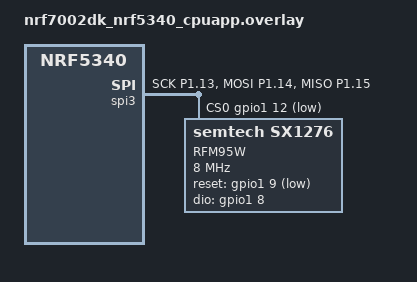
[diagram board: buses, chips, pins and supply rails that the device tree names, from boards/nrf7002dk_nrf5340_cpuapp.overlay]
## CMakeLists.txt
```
cmake_minimum_required(VERSION 3.20.0)

# Point CMake at Zephyr
find_package(Zephyr REQUIRED HINTS $ENV{ZEPHYR_BASE})
project(my_app)

# Your source files
target_sources(app PRIVATE
  src/main.c
  src/packet.c
  src/crypto_min.c
  src/siphash.c
)
```

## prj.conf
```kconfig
# --- Console / logging ---
CONFIG_SERIAL=y
CONFIG_CONSOLE=y
CONFIG_UART_CONSOLE=y
CONFIG_PRINTK=y
CONFIG_LOG=y

# --- GPIO for LED ---
CONFIG_GPIO=y

# --- LoRa / radio support ---
CONFIG_LORA=y
CONFIG_LORA_LOG_LEVEL_INF=y
CONFIG_LOG_MODE_IMMEDIATE=y


# RX needs a bigger stack too
CONFIG_MAIN_STACK_SIZE=4096
```

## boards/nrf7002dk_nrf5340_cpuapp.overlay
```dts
/ {
    aliases {
        lora0 = &rfm95;
    };
};

/* ===== SPI3 for RFM95 LoRa ===== */
&spi3 {
    compatible = "nordic,nrf-spim";
    status = "okay";
    pinctrl-0 = <&spi3_default>;
    pinctrl-1 = <&spi3_sleep>;
    pinctrl-names = "default", "sleep";
    cs-gpios = <&gpio1 12 GPIO_ACTIVE_LOW>;

    rfm95: sx1276@0 {
        compatible = "semtech,sx1276";
        reg = <0>;
        label = "RFM95W";
        spi-max-frequency = <8000000>;

        reset-gpios = <&gpio1 9 GPIO_ACTIVE_LOW>;
        dio-gpios   = <&gpio1 8 GPIO_ACTIVE_HIGH>;
        power-amplifier-output = "pa-boost";
    };
};

&pinctrl {
    spi3_default: spi3_default {
        group1 {
            psels = <NRF_PSEL(SPIM_SCK,  1, 13)>,
                    <NRF_PSEL(SPIM_MOSI, 1, 14)>,
                    <NRF_PSEL(SPIM_MISO, 1, 15)>;
        };
    };

    spi3_sleep: spi3_sleep {
        group1 {
            psels = <NRF_PSEL(SPIM_SCK,  1, 13)>,
                    <NRF_PSEL(SPIM_MOSI, 1, 14)>,
                    <NRF_PSEL(SPIM_MISO, 1, 15)>;
            low-power-enable;
        };
    };
};
```

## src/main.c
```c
#include <math.h>
#include <stdint.h>
#include <string.h>
#include <zephyr/device.h>
#include <zephyr/drivers/lora.h>
#include <zephyr/kernel.h>
#include <zephyr/logging/log.h>

#include "packet.h"

LOG_MODULE_REGISTER(misogate, LOG_LEVEL_INF);

/* --- Multi-node + relative position config --- */
#define MAX_NODES 4               /* we use node IDs 1 and 2 for now */
#define BASELINE_SAMPLES 20       /* packets per node to learn baseline */
#define POSITION_MIN_ANOM 2000.0f /* ignore if both anomalies tiny */

/* Per-node state at the gateway */
struct node_state {
  bool have_baseline;
  uint32_t baseline_count;
  int64_t baseline_sum_absB; /* sum of |B| during baseline learning */
  int32_t baseline_absB;     /* learned baseline |B| in m-uT */

  int32_t last_absB;  /* last |B| in m-uT */
  int32_t last_dAbsB; /* last anomaly |B|-baseline in m-uT */
  uint32_t last_seq;
};

static struct node_state g_nodes[MAX_NODES + 1];

/* Compute |B| from components in m-uT using float math */
static int32_t compute_absB_m_uT(int32_t x, int32_t y, int32_t z) {
  float fx = (float)x;
  float fy = (float)y;
  float fz = (float)z;
  float mag = sqrtf(fx * fx + fy * fy + fz * fz);
  if (mag > 2147483647.0f) {
    mag = 2147483647.0f;
  }
  return (int32_t)mag;
}

/* Update per-node baseline and anomaly for this frame */
static void update_node_state(const struct sensor_frame *f, int32_t absB) {
  uint8_t nid = f->node_id;
  if (nid == 0 || nid > MAX_NODES) {
    LOG_WRN("Ignoring frame from node_id=%u (out of range)", nid);
    return;
  }

  struct node_state *ns = &g_nodes[nid];

  /* Learn baseline first N samples per node */
  if (!ns->have_baseline) {
    ns->baseline_sum_absB += absB;
    ns->baseline_count++;

    if (ns->baseline_count >= BASELINE_SAMPLES) {
      ns->baseline_absB =
          (int32_t)(ns->baseline_sum_absB / (int32_t)ns->baseline_count);
      ns->have_baseline = true;
      LOG_INF("Node %u baseline learned: |B| ≈ %d m-uT", nid,
              ns->baseline_absB);
    }
  }

  ns->last_absB = absB;
  ns->last_seq = f->tx_seq;

  if (ns->have_baseline) {
    ns->last_dAbsB = absB - ns->baseline_absB;
  } else {
    ns->last_dAbsB = 0;
  }
}

/*
 * Estimate relative TBM position using node 1 and 2.
 * Returns:
 *   -1 if no valid estimate yet
 *    0..100 otherwise (0=node1, 100=node2).
 */
static int estimate_position_rel_0_100(void) {
  struct node_state *n1 = &g_nodes[1];
  struct node_state *n2 = &g_nodes[2];

  if (!n1->have_baseline || !n2->have_baseline) {
    return -1; /* learning baselines */
  }

  float d0 = fabsf((float)n1->last_dAbsB);
  float d1 = fabsf((float)n2->last_dAbsB);
  float sum = d0 + d1;

  if (sum < POSITION_MIN_ANOM) {
    /* Magnet too far / weak to give meaningful position */
    return -1;
  }

  /* Barycentric between node1 and node2:
   * ratio = d1 / (d0 + d1)
   *  => 0 means all at node1, 1 means all at node2
   */
  float ratio = d1 / sum;
  if (ratio < 0.0f)
    ratio = 0.0f;
  if (ratio > 1.0f)
    ratio = 1.0f;

  int pos_rel =
      (int)(ratio * 100.0f + 0.5f); /* round to nearest int in [0,100] */
  if (pos_rel < 0)
    pos_rel = 0;
  if (pos_rel > 100)
    pos_rel = 100;
  return pos_rel;
}

void main(void) {
  const struct device *lora = DEVICE_DT_GET(DT_ALIAS(lora0));
  if (!device_is_ready(lora)) {
    LOG_ERR("LoRa device not ready");
    return;
  }

  struct lora_modem_config cfg = {
      .frequency = 915000000UL,
      .bandwidth = BW_125_KHZ,
      .datarate = SF_7,
      .coding_rate = CR_4_5,
      .preamble_len = 8,
      .tx_power = 10,
      .tx = false, /* RX mode */
      .iq_inverted = false,
      .public_network = true,
  };
  if (lora_config(lora, &cfg) < 0) {
    LOG_ERR("lora_config failed");
    return;
  }

  LOG_INF(
      "misogate: RX (Encrypt-then-MAC, multi-node, relative position 0..100)");

  memset(g_nodes, 0, sizeof(g_nodes));

  uint32_t rx_ok = 0;

  while (1) {
    uint8_t buf[64];
    int16_t rssi = 0, snr = 0;
    int len = lora_recv(lora, buf, sizeof(buf), K_SECONDS(10), &rssi, &snr);

    if (len > 0) {
      struct sensor_frame f;
      if (packet_parse_secure_frame_encmac(buf, len, &f) == 0) {
        rx_ok++;

        /* Compute |B| and update per-node state */
        int32_t absB =
            compute_absB_m_uT(f.x_uT_milli, f.y_uT_milli, f.z_uT_milli);

        update_node_state(&f, absB);

        /* pretty temperature */
        int16_t t_abs = abs(f.temp_c_times10 % 10);

        struct node_state *ns =
            (f.node_id <= MAX_NODES) ? &g_nodes[f.node_id] : NULL;

        int32_t dAbs = (ns && ns->have_baseline) ? ns->last_dAbsB : 0;

        LOG_INF("SECURE PKT rx_ok=%u node=%u tx_seq=%u "
                "X=%d m-uT Y=%d m-uT Z=%d m-uT |B|=%d m-uT d|B|=%d m-uT "
                "T=%d.%d C RSSI=%d dBm SNR=%d dB len=%d",
                (unsigned)rx_ok, (unsigned)f.node_id, (unsigned)f.tx_seq,
                f.x_uT_milli, f.y_uT_milli, f.z_uT_milli, absB, dAbs,
                f.temp_c_times10 / 10, t_abs, rssi, snr, len);

        /* Try to compute a relative position 0..100 using nodes 1 and 2 */
        int pos_rel = estimate_position_rel_0_100();
        if (pos_rel >= 0) {
          /* This is the line your teammate can parse to drive the slider */
          struct node_state *n1 = &g_nodes[1];
          struct node_state *n2 = &g_nodes[2];

          float d0 = fabsf((float)n1->last_dAbsB);
          float d1 = fabsf((float)n2->last_dAbsB);

          LOG_INF("POS_REL node1-2: %d (0=node1,100=node2) "
                  "d0=%.0f m-uT d1=%.0f m-uT",
                  pos_rel, (double)d0, (double)d1);
        } else {
          LOG_INF("POS_REL node1-2: N/A (baselines not ready or anomalies too "
                  "small)");
        }

      } else {
        LOG_WRN("SECURITY DROP len=%d RSSI=%d SNR=%d", len, rssi, snr);
      }
    } else {
      LOG_INF("misogate: waiting...");
    }
  }
}
```

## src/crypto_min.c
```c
#include "crypto_min.h"
#include "siphash.h"
#include <string.h>

static void sip_to_16(uint8_t out16[16], const uint8_t key[16],
                      const uint8_t *label, size_t lab_len) {
  uint8_t tag[8];
  siphash24(tag, label, lab_len, key);
  memcpy(out16, tag, 8);

  uint8_t lab2[32];
  size_t n = 0;
  for (; n < lab_len && n < sizeof(lab2) - 1; ++n)
    lab2[n] = label[n];
  lab2[n++] = 0xA5; // domain separator
  siphash24(tag, lab2, n, key);
  memcpy(out16 + 8, tag, 8);
}

void kdf_split_keys(const uint8_t k_master[16], uint8_t node_id,
                    uint8_t K_enc_out[16], uint8_t K_mac_out[16]) {
  uint8_t labelE[6] = {'E', 'N', 'C', node_id, 0x00, 0x01};
  uint8_t labelM[6] = {'M', 'A', 'C', node_id, 0x00, 0x01};
  sip_to_16(K_enc_out, k_master, labelE, sizeof(labelE));
  sip_to_16(K_mac_out, k_master, labelM, sizeof(labelM));
}

void keystream_from_seq(uint8_t *out, size_t n, const uint8_t K_enc[16],
                        uint32_t tx_seq) {
  /* Generate 8B blocks: SipHash(K_enc, 'S' || tx_seq || block#) */
  uint8_t in[1 + 4 + 4];
  in[0] = 'S';
  in[1] = (uint8_t)(tx_seq >> 0);
  in[2] = (uint8_t)(tx_seq >> 8);
  in[3] = (uint8_t)(tx_seq >> 16);
  in[4] = (uint8_t)(tx_seq >> 24);

  uint8_t tag[8];
  uint32_t block = 0;
  size_t produced = 0;
  while (produced < n) {
    in[5] = (uint8_t)(block >> 0);
    in[6] = (uint8_t)(block >> 8);
    in[7] = (uint8_t)(block >> 16);
    in[8] = (uint8_t)(block >> 24);
    siphash24(tag, in, sizeof(in), K_enc);
    size_t take = (n - produced < 8) ? (n - produced) : 8;
    for (size_t i = 0; i < take; ++i)
      out[produced + i] = tag[i];
    produced += take;
    block++;
  }
}
```

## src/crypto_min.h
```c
#pragma once
#include <stddef.h>
#include <stdint.h>

/* Derive ENC and MAC subkeys from a 16-byte per-node master key */
void kdf_split_keys(const uint8_t k_master[16], uint8_t node_id,
                    uint8_t K_enc_out[16], uint8_t K_mac_out[16]);

/* Build keystream from K_enc and tx_seq (nonce) */
void keystream_from_seq(uint8_t *out, size_t n, const uint8_t K_enc[16],
                        uint32_t tx_seq);
```

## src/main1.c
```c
#include <math.h>
#include <string.h>
#include <zephyr/device.h>
#include <zephyr/drivers/spi.h>
#include <zephyr/kernel.h>
#include <zephyr/logging/log.h>

LOG_MODULE_REGISTER(main, LOG_LEVEL_INF);

/* ================= LoRa 参数 ================= */
#define LORA_FREQ_HZ 915000000UL
#define MAX_PAYLOAD 64

static int sx1276_read_reg(uint8_t reg, uint8_t *val); // ✅ 添加这行
/* ================= SPI 设置 ================= */
static struct spi_dt_spec lora_spi =
    SPI_DT_SPEC_GET(DT_NODELABEL(rfm95), SPI_WORD_SET(8) | SPI_TRANSFER_MSB, 0);

/* ================= 数据解包函数 ================= */
static void unpack_mag_data(const uint8_t *buf, uint8_t *node_id, uint32_t *seq,
                            int32_t *x, int32_t *y, int32_t *z) {
  *node_id = buf[0];

  // 序列号 (4 bytes, little-endian)
  *seq = ((uint32_t)buf[1] << 0) | ((uint32_t)buf[2] << 8) |
         ((uint32_t)buf[3] << 16) | ((uint32_t)buf[4] << 24);

  // X (4 bytes, little-endian, signed)
  *x = ((int32_t)buf[5] << 0) | ((int32_t)buf[6] << 8) |
       ((int32_t)buf[7] << 16) | ((int32_t)buf[8] << 24);

  // Y (4 bytes)
  *y = ((int32_t)buf[9] << 0) | ((int32_t)buf[10] << 8) |
       ((int32_t)buf[11] << 16) | ((int32_t)buf[12] << 24);

  // Z (4 bytes)
  *z = ((int32_t)buf[13] << 0) | ((int32_t)buf[14] << 8) |
       ((int32_t)buf[15] << 16) | ((int32_t)buf[16] << 24);
}

/* ================= SPI 基础读写 ================= */
static void sx1276_write_reg(uint8_t reg, uint8_t val) {

  if (reg == 0x01) {
    val |= 0x80; // 把 bit7=1
                 // LOG_INF("→ LoRa bit forced ON for RegOpMode write");
  }
  uint8_t tx_buf[2] = {reg | 0x80, val};
  struct spi_buf tx = {.buf = tx_buf, .len = 2};
  const struct spi_buf_set txs = {.buffers = &tx, .count = 1};
  int ret = spi_write_dt(&lora_spi, &txs);

  if (ret != 0) {
    LOG_ERR("SPI write failed! reg=0x%02X ret=%d", reg, ret);
  }

  // ✅ 验证 0x01 寄存器的写入
  if (reg == 0x01) {
    k_msleep(1);
    uint8_t readback;
    sx1276_read_reg(0x01, &readback);

    // if (readback != val) {
    //     LOG_ERR("Reg 0x01 verify FAILED! Wrote:0x%02X Read:0x%02X", val,
    //     readback);
    // } else {
    //     LOG_INF("Reg 0x01 verify OK: 0x%02X", readback);
    // }
  }
}

static int sx1276_read_reg(uint8_t reg, uint8_t *val) {
  uint8_t tx_buf[2] = {reg & 0x7F, 0x00};
  uint8_t rx_buf[2] = {0};
  struct spi_buf tx = {.buf = tx_buf, .len = 2};
  struct spi_buf rx = {.buf = rx_buf, .len = 2};
  const struct spi_buf_set tx_set = {.buffers = &tx, .count = 1};
  const struct spi_buf_set rx_set = {.buffers = &rx, .count = 1};

  int ret = spi_transceive_dt(&lora_spi, &tx_set, &rx_set);
  if (ret != 0) {
    LOG_ERR("SPI read failed reg=0x%02X ret=%d", reg, ret);
    return ret;
  }

  *val = rx_buf[1];
  return 0;
}

/* ================= LoRa 初始化 ================= */
static void sx1276_set_freq(uint32_t freq) {
  uint64_t frf = ((uint64_t)freq << 19) / 32000000;
  sx1276_write_reg(0x06, (frf >> 16) & 0xFF);
  sx1276_write_reg(0x07, (frf >> 8) & 0xFF);
  sx1276_write_reg(0x08, (frf) & 0xFF);
}

static void sx1276_reset(void) {
  const struct device *gpio_rst = DEVICE_DT_GET(DT_NODELABEL(gpio1)); // P1.x
  if (!device_is_ready(gpio_rst)) {
    LOG_ERR("gpio1 not ready!");
    return;
  }

  gpio_pin_configure(gpio_rst, 9, GPIO_OUTPUT_ACTIVE); // P1.09

  gpio_pin_set(gpio_rst, 9, 0); // 拉低复位
  k_msleep(2);                  // >= 1ms
  gpio_pin_set(gpio_rst, 9, 1); // 拉高
  k_msleep(10);                 // 给芯片时间稳定
                                // LOG_INF("SX1276 RST done");
}

static void sx1276_init_lora(void) {
  sx1276_reset();

  LOG_INF("SX1276 init...");
  sx1276_write_reg(0x01, 0x80); // Sleep + LoRa
  k_msleep(5);
  sx1276_write_reg(0x01, 0x81 | 0x80); // Standby

  sx1276_set_freq(LORA_FREQ_HZ);
  sx1276_write_reg(0x1D, 0x72); // BW125kHz, CR4/5
  sx1276_write_reg(0x1E, 0x74); // SF7 + CRC ON
  sx1276_write_reg(0x26, 0x04); // LowDataRateOptimize=OFF, AGC=ON
  sx1276_write_reg(0x09, 0x8F); // PA_BOOST + 14dBm
  sx1276_write_reg(0x12, 0xFF); // Clear IRQ

  sx1276_write_reg(0x39, 0x34); // SyncWord
  sx1276_write_reg(0x24, 0x00); // HopPeriod OFF
  sx1276_write_reg(0x0C, 0x23); // LNA Boost
  sx1276_write_reg(0x33, 0x27); // InvertIQ Normal
  sx1276_write_reg(0x3B, 0x1D); // InvertIQ2 固定值

  sx1276_write_reg(0x0E, 0x80); // ✅ TX FIFO base addr
  sx1276_write_reg(0x0F, 0x00); // ✅ RX FIFO base addr

  LOG_INF("SX1276 basic config done.");
}

static void sx1276_enter_rx(void) {
  // sx1276_write_reg(0x01, 0x80); // Sleep
  // k_msleep(2);
  sx1276_write_reg(0x01, 0x81 | 0x80); // Standby

  // TX FIFO base = 0x80（发射端区域）
  sx1276_write_reg(0x0E, 0x80);

  // RX FIFO base = 0x00（接收端区域）
  sx1276_write_reg(0x0F, 0x00);

  // FIFO 指针回到 RX 区域头
  sx1276_write_reg(0x0D, 0x00);

  // 清中断 & DIO 映射到 RxDone
  sx1276_write_reg(0x12, 0xFF);
  sx1276_write_reg(0x40, 0x00);

  // 进入连续接收
  sx1276_write_reg(0x01, 0x85 | 0x80);

  // LOG_INF("RX ON");
}

/* ================= FIFO 读取函数 ================= */
static void sx1276_read_fifo(uint8_t *buf, uint8_t len) {
  uint8_t tx_buf[1 + MAX_PAYLOAD] = {0x00};
  uint8_t rx_buf[1 + MAX_PAYLOAD] = {0};
  tx_buf[0] = 0x00; // FIFO地址

  struct spi_buf tx = {.buf = tx_buf, .len = len + 1};
  struct spi_buf rx = {.buf = rx_buf, .len = len + 1};
  const struct spi_buf_set txs = {.buffers = &tx, .count = 1};
  const struct spi_buf_set rxs = {.buffers = &rx, .count = 1};
  spi_transceive_dt(&lora_spi, &txs, &rxs);

  memcpy(buf, &rx_buf[1], len);
}

/* ================= 主程序 ================= */
void main(void) {
  LOG_INF("==== SX1276 RX Debug Mode ====");

  if (!device_is_ready(lora_spi.bus)) {
    LOG_ERR("SPI bus not ready!");
    return;
  }

  sx1276_init_lora();
  sx1276_enter_rx();

  uint8_t ver;
  if (sx1276_read_reg(0x42, &ver) == 0) {
    LOG_INF("SX1276 RegVersion = 0x%02X", ver);
  } else {
    LOG_ERR("Failed to read RegVersion");
  }

  uint8_t irq, opmode, pktlen, fifo_rx_curr, rssi, modem_stat;
  uint8_t modemstat, hopchan; // <--- 新增
  uint8_t buf[MAX_PAYLOAD];

  while (1) {
    // 1. 读取状态
    sx1276_read_reg(0x12, &irq);
    sx1276_read_reg(0x1C, &hopchan);
    sx1276_read_reg(0x01, &opmode);
    sx1276_read_reg(0x18, &modem_stat);

    if ((opmode & 0x87) != 0x85) {
      // LOG_ERR("!! Mode wrong: %02X, FULL RESET...", opmode);

      // ✅ 直接调用初始化函数
      sx1276_init_lora();
      sx1276_enter_rx();

      uint8_t verify_modem;
      sx1276_read_reg(0x18, &verify_modem);
      // LOG_WRN("Full reset done, ModemStat=0x%02X", verify_modem);

      continue;
    }

    if (irq & 0x40) // RxDone
    {
      bool CrcError = (irq & 0x20);
      if (!CrcError) {
        uint8_t fifo_rx_curr, pktlen;
        sx1276_read_reg(0x10, &fifo_rx_curr);
        sx1276_read_reg(0x13, &pktlen);

        if (pktlen > MAX_PAYLOAD)
          pktlen = MAX_PAYLOAD;

        sx1276_write_reg(0x0D, fifo_rx_curr);
        sx1276_read_fifo(buf, pktlen);

        if (pktlen == 17) { // 检查是否是正确的数据包长度
          uint8_t node_id;
          uint32_t seq;
          int32_t x, y, z;

          unpack_mag_data(buf, &node_id, &seq, &x, &y, &z);

          // 转换成 Gauss
          float x_g = x * 0.0000625f;
          float y_g = y * 0.0000625f;
          float z_g = z * 0.0000625f;
          float mag = sqrtf(x_g * x_g + y_g * y_g + z_g * z_g);

          LOG_INF("Node:%u Seq:%lu X:%.3f Y:%.3f Z:%.3f |M|:%.3f G", node_id,
                  (unsigned long)seq, (double)x_g, (double)y_g, (double)z_g,
                  (double)mag);
        } else {
          LOG_WRN("Invalid packet length: %u (expected 17)", pktlen);
        }
      }

      //         buf[pktlen] = 0;
      //         LOG_INF("RECV: %s", buf);
      //       }  else {
      //         LOG_WRN("CRC error, dropped");
      //       }

      sx1276_write_reg(0x12, 0x40);

      // 重置FIFO
      sx1276_write_reg(0x0D, 0x00);

      // LOG_INF("Packet handled, back to RX mode");

      //    }

      k_msleep(50);
    }
  }
}

////////
```

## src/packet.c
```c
#include "packet.h"
#include "crypto_min.h"
#include "siphash.h"
#include <stdlib.h>
#include <string.h>

/* Same per-node master key as node */
static const uint8_t NODE_MASTER_KEY[16] = {0x4d, 0x69, 0x73, 0x6f, 0x4b, 0x65,
                                            0x79, 0x21, 0x10, 0x22, 0x33, 0x44,
                                            0x55, 0x66, 0x77, 0x88};

static uint32_t last_seq_seen[256];

int packet_parse_secure_frame_encmac(const uint8_t *in, size_t in_len,
                                     struct sensor_frame *out) {
  if (in_len < SECURE_FRAME_LEN)
    return -1;

  uint8_t node_id = in[0];
  uint32_t tx_seq = (uint32_t)in[1] | ((uint32_t)in[2] << 8) |
                    ((uint32_t)in[3] << 16) | ((uint32_t)in[4] << 24);

  const uint8_t *ct = &in[5];
  const uint8_t *tag = &in[5 + SENSOR_PLAINTEXT_LEN];

  uint8_t K_enc[16], K_mac[16];
  kdf_split_keys(NODE_MASTER_KEY, node_id, K_enc, K_mac);

  // MAC check first (Encrypt-then-MAC)
  uint8_t mac_input[1 + 4 + SENSOR_PLAINTEXT_LEN];
  mac_input[0] = node_id;
  mac_input[1] = in[1];
  mac_input[2] = in[2];
  mac_input[3] = in[3];
  mac_input[4] = in[4];
  memcpy(&mac_input[5], ct, SENSOR_PLAINTEXT_LEN);

  uint8_t calc[TAG_LEN];
  siphash24(calc, mac_input, sizeof(mac_input), K_mac);
  if (memcmp(calc, tag, TAG_LEN) != 0)
    return -1;

  // Replay protection per node
  if (tx_seq <= last_seq_seen[node_id])
    return -1;
  last_seq_seen[node_id] = tx_seq;

  // Decrypt

  uint8_t ks[SENSOR_PLAINTEXT_LEN], pt[SENSOR_PLAINTEXT_LEN];
  keystream_from_seq(ks, sizeof(ks), K_enc, tx_seq);
  for (size_t i = 0; i < SENSOR_PLAINTEXT_LEN; ++i)
    pt[i] = ct[i] ^ ks[i];

  out->node_id = node_id;
  out->tx_seq = tx_seq;
  return unpack_sensor_payload(pt, out);
}
```

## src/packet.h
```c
#pragma once
#include <stddef.h>
#include <stdint.h>

/* Frame & payload layout (unchanged size: 28 bytes) */
#define MSG_TYPE_SENSOR 0x01
#define SENSOR_PLAINTEXT_LEN 15
#define TAG_LEN 8
#define SECURE_FRAME_LEN (1 + 4 + SENSOR_PLAINTEXT_LEN + TAG_LEN)

/* Sensor struct used at the app edges */
struct sensor_frame {
  uint8_t node_id;
  uint32_t tx_seq;
  int32_t x_uT_milli;
  int32_t y_uT_milli;
  int32_t z_uT_milli;
  int16_t temp_c_times10;
};

/* --- helpers to pack/unpack 15B sensor payload --- */
static inline void pack_sensor_payload(uint8_t *buf,
                                       const struct sensor_frame *m) {
  buf[0] = MSG_TYPE_SENSOR;

  uint32_t ux = (uint32_t)m->x_uT_milli;
  uint32_t uy = (uint32_t)m->y_uT_milli;
  uint32_t uz = (uint32_t)m->z_uT_milli;

  buf[1] = (uint8_t)(ux >> 0);
  buf[2] = (uint8_t)(ux >> 8);
  buf[3] = (uint8_t)(ux >> 16);
  buf[4] = (uint8_t)(ux >> 24);

  buf[5] = (uint8_t)(uy >> 0);
  buf[6] = (uint8_t)(uy >> 8);
  buf[7] = (uint8_t)(uy >> 16);
  buf[8] = (uint8_t)(uy >> 24);

  buf[9] = (uint8_t)(uz >> 0);
  buf[10] = (uint8_t)(uz >> 8);
  buf[11] = (uint8_t)(uz >> 16);
  buf[12] = (uint8_t)(uz >> 24);

  uint16_t t = (uint16_t)m->temp_c_times10;
  buf[13] = (uint8_t)(t >> 0);
  buf[14] = (uint8_t)(t >> 8);
}

static inline int unpack_sensor_payload(const uint8_t *p,
                                        struct sensor_frame *out) {
  if (p[0] != MSG_TYPE_SENSOR)
    return -1;

  uint32_t ux = (uint32_t)p[1] | ((uint32_t)p[2] << 8) |
                ((uint32_t)p[3] << 16) | ((uint32_t)p[4] << 24);
  uint32_t uy = (uint32_t)p[5] | ((uint32_t)p[6] << 8) |
                ((uint32_t)p[7] << 16) | ((uint32_t)p[8] << 24);
  uint32_t uz = (uint32_t)p[9] | ((uint32_t)p[10] << 8) |
                ((uint32_t)p[11] << 16) | ((uint32_t)p[12] << 24);

  out->x_uT_milli = (int32_t)ux;
  out->y_uT_milli = (int32_t)uy;
  out->z_uT_milli = (int32_t)uz;

  out->temp_c_times10 = (int16_t)((uint16_t)p[13] | ((uint16_t)p[14] << 8));
  return 0;
}
```

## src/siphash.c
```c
#include "siphash.h"

static inline uint64_t U8TO64_LE(const uint8_t *p) {
  return ((uint64_t)p[0]) | ((uint64_t)p[1] << 8) | ((uint64_t)p[2] << 16) |
         ((uint64_t)p[3] << 24) | ((uint64_t)p[4] << 32) |
         ((uint64_t)p[5] << 40) | ((uint64_t)p[6] << 48) |
         ((uint64_t)p[7] << 56);
}
static inline uint64_t ROTL64(uint64_t x, int b) {
  return (x << b) | (x >> (64 - b));
}
static inline void sipround(uint64_t *v0, uint64_t *v1, uint64_t *v2,
                            uint64_t *v3) {
  *v0 += *v1;
  *v1 = ROTL64(*v1, 13) ^ *v0;
  *v0 = ROTL64(*v0, 32);
  *v2 += *v3;
  *v3 = ROTL64(*v3, 16) ^ *v2;
  *v0 += *v3;
  *v3 = ROTL64(*v3, 21) ^ *v0;
  *v2 += *v1;
  *v1 = ROTL64(*v1, 17) ^ *v2;
  *v2 = ROTL64(*v2, 32);
}

void siphash24(uint8_t out[8], const uint8_t *m, size_t len,
               const uint8_t key[16]) {
  uint64_t k0 = U8TO64_LE(key + 0);
  uint64_t k1 = U8TO64_LE(key + 8);
  uint64_t v0 = 0x736f6d6570736575ULL ^ k0;
  uint64_t v1 = 0x646f72616e646f6dULL ^ k1;
  uint64_t v2 = 0x6c7967656e657261ULL ^ k0;
  uint64_t v3 = 0x7465646279746573ULL ^ k1;

  const uint8_t *end = m + (len & ~((size_t)7));
  int left = (int)(len & 7);

  for (const uint8_t *p = m; p != end; p += 8) {
    uint64_t mi = U8TO64_LE(p);
    v3 ^= mi;
    sipround(&v0, &v1, &v2, &v3);
    sipround(&v0, &v1, &v2, &v3);
    v0 ^= mi;
  }

  uint64_t b = ((uint64_t)len) << 56;
  switch (left) { /* fallthroughs intentional */
  case 7:
    b |= ((uint64_t)m[len - 7]) << 48;
  case 6:
    b |= ((uint64_t)m[len - 6]) << 40;
  case 5:
    b |= ((uint64_t)m[len - 5]) << 32;
  case 4:
    b |= ((uint64_t)m[len - 4]) << 24;
  case 3:
    b |= ((uint64_t)m[len - 3]) << 16;
  case 2:
    b |= ((uint64_t)m[len - 2]) << 8;
  case 1:
    b |= ((uint64_t)m[len - 1]);
  default:
    break;
  }

  v3 ^= b;
  sipround(&v0, &v1, &v2, &v3);
  sipround(&v0, &v1, &v2, &v3);
  v0 ^= b;
  v2 ^= 0xff;
  sipround(&v0, &v1, &v2, &v3);
  sipround(&v0, &v1, &v2, &v3);
  sipround(&v0, &v1, &v2, &v3);
  sipround(&v0, &v1, &v2, &v3);
  uint64_t tag = v0 ^ v1 ^ v2 ^ v3;

  out[0] = (uint8_t)(tag >> 0);
  out[1] = (uint8_t)(tag >> 8);
  out[2] = (uint8_t)(tag >> 16);
  out[3] = (uint8_t)(tag >> 24);
  out[4] = (uint8_t)(tag >> 32);
  out[5] = (uint8_t)(tag >> 40);
  out[6] = (uint8_t)(tag >> 48);
  out[7] = (uint8_t)(tag >> 56);
}
```

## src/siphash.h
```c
#pragma once
#include <stddef.h>
#include <stdint.h>

/* SipHash-2-4, 64-bit tag */
void siphash24(uint8_t tag[8], const uint8_t *msg, size_t msg_len,
               const uint8_t key[16]);
```
